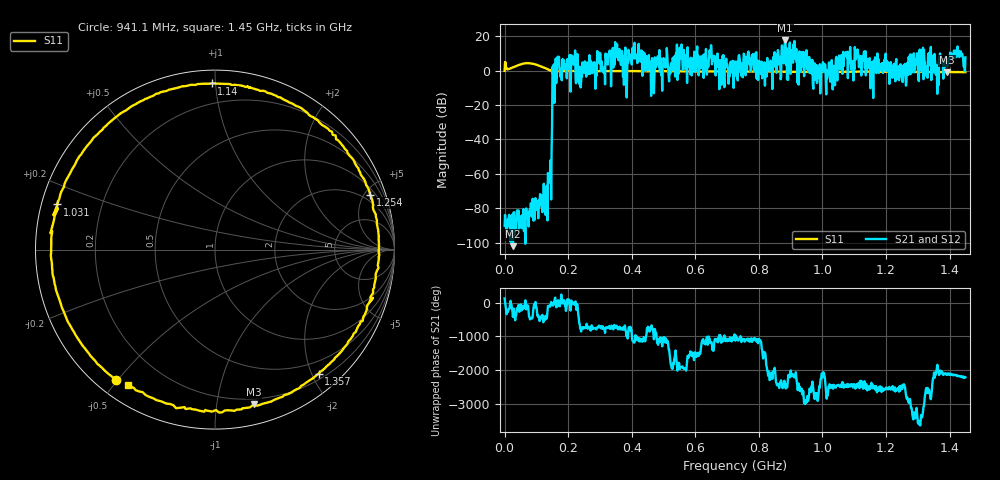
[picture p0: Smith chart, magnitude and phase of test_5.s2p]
! Created with skrf 1.11.0 (http://scikit-rf.org).
# Hz S RI R 50.0
!freq ReS11 ImS11 ReS21 ImS21 ReS12 ImS12 ReS22 ImS22
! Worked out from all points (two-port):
!   1001 points, 50 kHz to 1.45 GHz, reference 50 ohm
!   highest |S21| = 17.42 dB at 883.1 MHz (marker M1); lowest = -101.9 dB at 26.15 MHz (marker M2)
!   |S21| within 3 dB of the highest: 347.809 MHz to 348.3748 MHz (565.8 kHz wide, 0.163 % of centre); 881.3686 MHz to 884.1051 MHz (2.737 MHz wide, 0.31 % of centre) (the widest 2 of 12)
!   lowest |S11| = -1.0 dB at 1.392 GHz (marker M3), VSWR 17.06, Z = 7.7 - j63.5 ohm
!   |S11| at or under -10 dB: nowhere
!   |S22| runs from - to - dB; largest |S21 - S12| = 0
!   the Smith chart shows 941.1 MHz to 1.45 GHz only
!   S11 on the Smith chart (normalised r, x): 941.1 MHz: 0.06, -0.50; 1.031 GHz: 0.05, +0.14; 1.14 GHz: 0.08, +0.98; 1.254 GHz: 1.43, +5.47; 1.357 GHz: 0.29, -2.11; 1.45 GHz: 0.07, -0.54
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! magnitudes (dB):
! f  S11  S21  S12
! 50 kHz  -0.2  -90.1  -90.1
! 26.15 MHz  1.8  -101.9  -101.9
! 127.6 MHz  1.4  -72.6  -72.6
! 140.7 MHz  0.3  -62.4  -62.4
! 156.6 MHz  -0.3  -18.8  -18.8
! 165.3 MHz  -0.3  5.5  5.5
! 242.2 MHz  -0.3  -1.6  -1.6
! 355.3 MHz  -0.3  7.8  7.8
! 379.9 MHz  -0.3  13.3  13.3
! 484.3 MHz  -0.4  3.3  3.3
! 725 MHz  -0.6  5.2  5.2
! 883.1 MHz  -0.8  17.4  17.4
! 941.1 MHz  -0.8  10.7  10.7
! 967.2 MHz  -0.8  -2.0  -2.0
! 1.031 GHz  -0.8  -7.1  -7.1
! 1.072 GHz  -0.7  9.1  9.1
! 1.14 GHz  -0.7  0.2  0.2
! 1.209 GHz  -0.7  1.7  1.7
! 1.254 GHz  -0.8  -1.5  -1.5
! 1.357 GHz  -0.9  -2.4  -2.4
! 1.392 GHz  -1.0  6.7  6.7
! 1.45 GHz  -1.0  7.6  7.6
